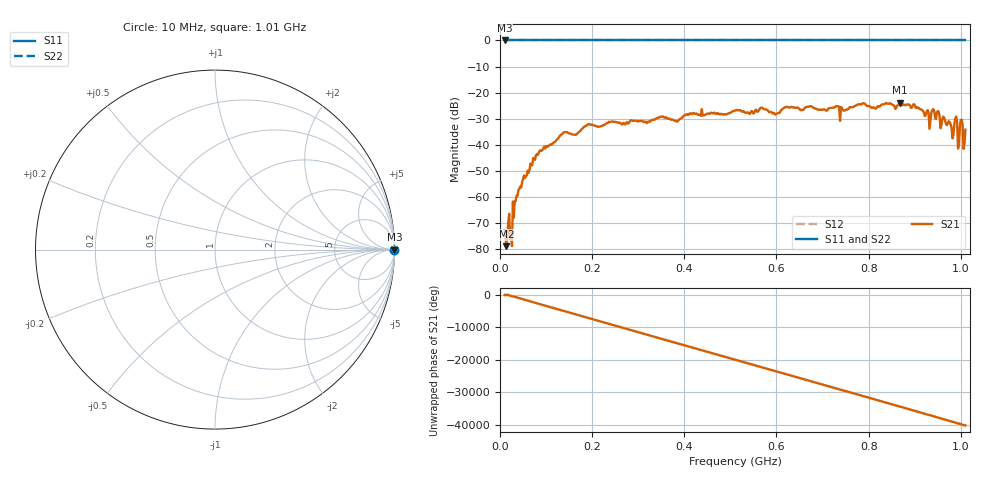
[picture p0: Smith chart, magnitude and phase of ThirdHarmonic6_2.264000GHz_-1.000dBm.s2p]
! 8/17/2025 2:49:05 AM
! C:\ANRITSUVNA\TEMP\TEMP.S2P
! CHANNEL.1
! TR.MEASUREMENT
! RAW.DATA
! RF.CORRECTION.OFF
! AVERAGING.OFF
! IF.BANDWIDTH: 5KHZ
! SWEEPTYPE:  FREQ.SWEEP(Linear)
! Reference Plane Port Info
! PORT:  PORT1  PORT2
! DISTANCE:  0  m  0  m
! TIME:  0  s  0  s
! PHASE.OFFSET:  0  deg.  0  deg.
! LOSS:  0  dB  0  dB
! REF.LOSS:  0  dB  0  dB
! REF.FREQ:  0  Hz  0  Hz
! Power Info
! POWER:  -20  dBm  -20  dBm
! EFF.POWER:  -20  dBm  -20  dBm
! SOURCE.ATTEN:  0  dB  0  dB
! TEST.ATTEN:  0  dB  0  dB
# GHZ S RI R 50.0
! FREQ.GHZ  S11RE  S11IM  S21RE  S21IM  S12RE  S12IM  S22RE  S22IM
!; PortSelection: Port_12
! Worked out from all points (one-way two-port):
!   501 points, 10 MHz to 1.01 GHz, reference 50 ohm
!   highest |S21| = -23.87 dB at 868 MHz (marker M1); lowest = -78.9 dB at 14 MHz (marker M2)
!   lowest |S11| = 0.0 dB at 10 MHz (marker M3)
!   |S11| at or under -10 dB: nowhere
!   |S22| runs from 0.0 to 0.0 dB; largest |S21 - S12| = 1.1
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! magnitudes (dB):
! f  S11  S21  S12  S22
! 10 MHz  0.0  -72.7  0.0  0.0
! 14 MHz  0.0  -78.9  0.0  0.0
! 26 MHz  0.0  -78.9  0.0  0.0
! 32 MHz  0.0  -61.7  0.0  0.0
! 40 MHz  0.0  -57.3  0.0  0.0
! 76 MHz  0.0  -45.8  0.0  0.0
! 136 MHz  0.0  -35.7  0.0  0.0
! 178 MHz  0.0  -33.9  0.0  0.0
! 344 MHz  0.0  -29.7  0.0  0.0
! 382 MHz  0.0  -30.8  0.0  0.0
! 510 MHz  0.0  -26.9  0.0  0.0
! 678 MHz  0.0  -25.5  0.0  0.0
! 742 MHz  0.0  -25.9  0.0  0.0
! 844 MHz  0.0  -24.3  0.0  0.0
! 868 MHz  0.0  -23.9  0.0  0.0
! 932 MHz  0.0  -33.9  0.0  0.0
! 940 MHz  0.0  -26.3  0.0  0.0
! 980 MHz  0.0  -33.5  0.0  0.0
! 988 MHz  0.0  -30.0  0.0  0.0
! 996 MHz  0.0  -40.2  0.0  0.0
! 1 GHz  0.0  -30.6  0.0  0.0
! 1.01 GHz  0.0  -34.2  0.0  0.0
